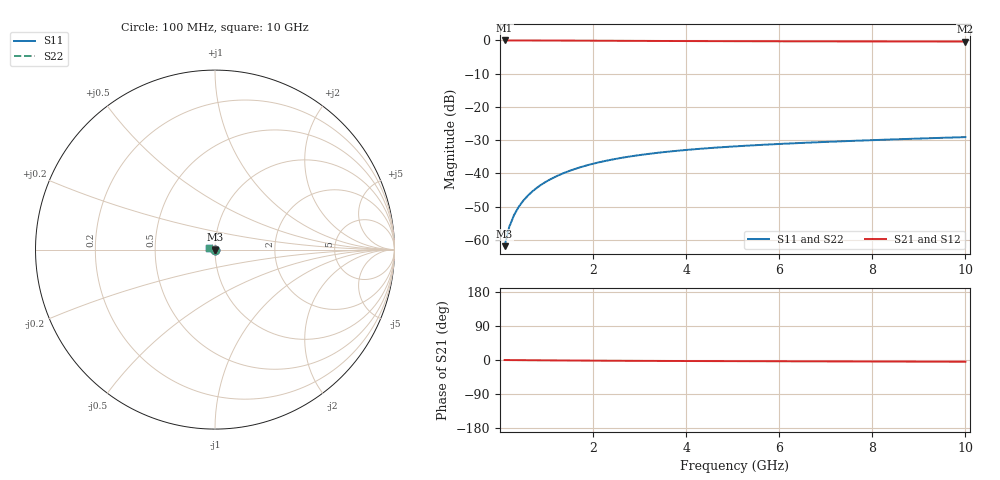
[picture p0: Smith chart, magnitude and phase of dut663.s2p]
! Touchstone file exported from HFSS 2024.1.0
!  File:  C:/UserFiles/LocalFiles/RDL_TSV_Batchsim/temp_TSV1_663_1779793356.aedt
!  Generated:  07:08:16 PM May 26, 2026
!  Design:  TSV1
!  Project:  temp_TSV1_663_1779793356
!  Setup:  Setup1
!  Solution:  Sweep
! Variables:
!  dtsv = 7.5um
!  hbump = 3um
!  htsv = 68.98um
!  lrdl = 252.1521522um
!  p = 40
!  p1 = 47.54um
!  t = 500um
!  trdl = 3um
!  wrdl = 24.89489489um
# GHz S MA R 50.000000
! Terminal data exported
! Port[1] = TSV22_T1
! Port[2] = TSV22_T2
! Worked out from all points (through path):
!   100 points, 100 MHz to 10 GHz, reference 50 ohm
!   highest |S21| = 0.00 dB at 100 MHz (marker M1); lowest = -0.3 dB at 10 GHz (marker M2)
!   lowest |S11| = -61.9 dB at 100 MHz (marker M3), VSWR 1.00, Z = 50 - j0.0775 ohm
!   |S11| at or under -10 dB: start of sweep to end of sweep
!   |S22| runs from -61.9 to -29.1 dB; largest |S21 - S12| = 5.4e-15
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0.1  0.0008026 -74.9  0.9997 -0.1  0.9997 -0.1  0.0008026 -74.9
! Gamma 0 0 0 0
! Port Impedance 50 0 50 0
0.2  0.001569 -85.1  0.9996 -0.2  0.9996 -0.2  0.001569 -85.1
0.3  0.002339 -89.9  0.9995 -0.3  0.9995 -0.3  0.002339 -89.9
0.4  0.003108 -93.3  0.9993 -0.4  0.9993 -0.4  0.003108 -93.3
0.5  0.003871 -96.1  0.9991 -0.5  0.9991 -0.5  0.003871 -96.1
0.6  0.004628 -98.5  0.9988 -0.6  0.9988 -0.6  0.004628 -98.5
0.7  0.005377 -100.8  0.9985 -0.7  0.9985 -0.7  0.005377 -100.8
0.8  0.006116 -103.0  0.9981 -0.8  0.9981 -0.8  0.006116 -103.0
0.9  0.006844 -105.1  0.9977 -0.8  0.9977 -0.8  0.006844 -105.1
1.1  0.008266 -109.1  0.9967 -1.0  0.9967 -1.0  0.008266 -109.1
1.4  0.0103 -114.8  0.9951 -1.3  0.9951 -1.3  0.0103 -114.8
1.6  0.01158 -118.4  0.9939 -1.4  0.9939 -1.4  0.01158 -118.4
1.8  0.0128 -121.8  0.9926 -1.6  0.9926 -1.6  0.0128 -121.8
2.1  0.01451 -126.7  0.9907 -1.8  0.9907 -1.8  0.01451 -126.7
2.5  0.01658 -132.9  0.988 -2.0  0.988 -2.0  0.01658 -132.9
2.9  0.01842 -138.6  0.9854 -2.2  0.9854 -2.2  0.01842 -138.6
3.4  0.02043 -145.2  0.9824 -2.4  0.9824 -2.4  0.02043 -145.2
4.2  0.02313 -154.5  0.9782 -2.8  0.9782 -2.8  0.02313 -154.5
5.1  0.0256 -163.5  0.9743 -3.1  0.9743 -3.1  0.0256 -163.5
6.7  0.02914 -176.6  0.9693 -3.6  0.9693 -3.6  0.02914 -176.6
8.4  0.03233 172.1  0.9657 -4.1  0.9657 -4.1  0.03233 172.1
10  0.03513 163.4  0.9634 -4.6  0.9634 -4.6  0.03513 163.4
